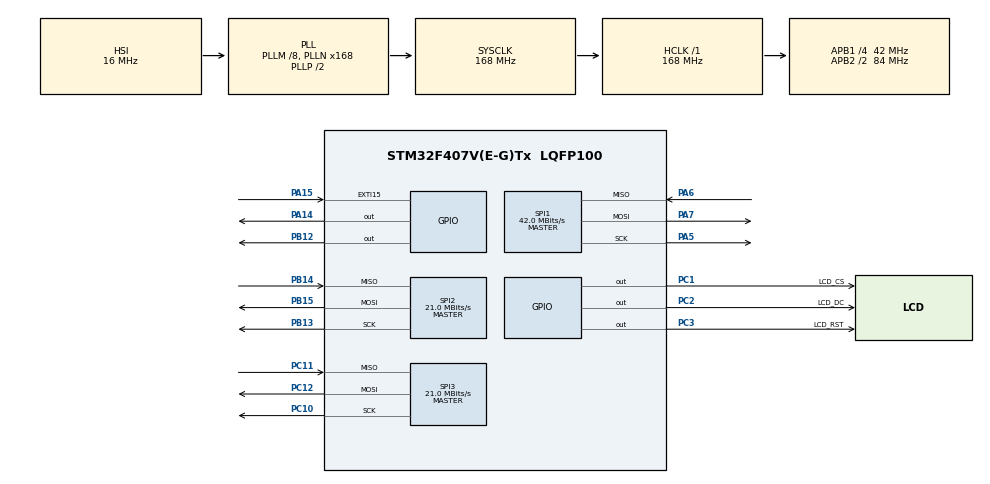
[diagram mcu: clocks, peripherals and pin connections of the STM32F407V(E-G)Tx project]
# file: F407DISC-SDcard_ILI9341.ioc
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FATFS._MAX_SS=4096
FATFS._USE_LFN=1
Mcu.Family=STM32F4
Mcu.Name=STM32F407V(E-G)Tx
Mcu.Package=LQFP100
NVIC.EXTI15_10_IRQn=true\:0\:0\:false\:false\:true\:true\:true\:true
NVIC.PriorityGroup=NVIC_PRIORITYGROUP_4
PA14.Signal=GPIO_Output
PA15.Signal=GPXTI15
PA5.Mode=Full_Duplex_Master
PA5.Signal=SPI1_SCK
PA6.Mode=Full_Duplex_Master
PA6.Signal=SPI1_MISO
PA7.Mode=Full_Duplex_Master
PA7.Signal=SPI1_MOSI
PB12.Signal=GPIO_Output
PB13.Mode=Full_Duplex_Master
PB13.Signal=SPI2_SCK
PB14.Mode=Full_Duplex_Master
PB14.Signal=SPI2_MISO
PB15.Mode=Full_Duplex_Master
PB15.Signal=SPI2_MOSI
PC1.GPIO_Label=LCD_CS
PC1.Signal=GPIO_Output
PC10.Mode=Full_Duplex_Master
PC10.Signal=SPI3_SCK
PC11.Mode=Full_Duplex_Master
PC11.Signal=SPI3_MISO
PC12.Mode=Full_Duplex_Master
PC12.Signal=SPI3_MOSI
PC2.GPIO_Label=LCD_DC
PC2.Signal=GPIO_Output
PC3.GPIO_Label=LCD_RST
PC3.Signal=GPIO_Output
PH0-OSC_IN.Mode=HSE-External-Oscillator
PH0-OSC_IN.Signal=RCC_OSC_IN
PH1-OSC_OUT.Mode=HSE-External-Oscillator
PH1-OSC_OUT.Signal=RCC_OSC_OUT
ProjectManager.HeapSize=0x200
ProjectManager.StackSize=0x400
ProjectManager.TargetToolchain=STM32CubeIDE
RCC.48MHZClocksFreq_Value=84000000
RCC.AHBFreq_Value=168000000
RCC.APB1CLKDivider=RCC_HCLK_DIV4
RCC.APB1Freq_Value=42000000
RCC.APB1TimFreq_Value=84000000
RCC.APB2CLKDivider=RCC_HCLK_DIV2
RCC.APB2Freq_Value=84000000
RCC.APB2TimFreq_Value=168000000
RCC.CortexFreq_Value=168000000
RCC.HCLKFreq_Value=168000000
RCC.HSE_VALUE=8000000
RCC.HSI_VALUE=16000000
RCC.LSE_VALUE=32768
RCC.PLLM=8
RCC.PLLN=168
RCC.SYSCLKFreq_VALUE=168000000
RCC.SYSCLKSource=RCC_SYSCLKSOURCE_PLLCLK
RCC.VCOOutputFreq_Value=336000000
SPI1.BaudRatePrescaler=SPI_BAUDRATEPRESCALER_2
SPI1.CalculateBaudRate=42.0 MBits/s
SPI1.Direction=SPI_DIRECTION_2LINES
SPI1.Mode=SPI_MODE_MASTER
SPI1.VirtualType=VM_MASTER
SPI2.BaudRatePrescaler=SPI_BAUDRATEPRESCALER_2
SPI2.CalculateBaudRate=21.0 MBits/s
SPI2.Direction=SPI_DIRECTION_2LINES
SPI2.Mode=SPI_MODE_MASTER
SPI2.VirtualType=VM_MASTER
SPI3.BaudRatePrescaler=SPI_BAUDRATEPRESCALER_2
SPI3.CalculateBaudRate=21.0 MBits/s
SPI3.Direction=SPI_DIRECTION_2LINES
SPI3.Mode=SPI_MODE_MASTER
SPI3.VirtualType=VM_MASTER
STMicroelectronics.X-CUBE-TOUCHGFX.4.25.0_IsPackSelfContextualization=true
VP_CRC_VS_CRC.Mode=CRC_Activate
VP_FATFS_VS_Generic.Mode=User_defined
board=custom

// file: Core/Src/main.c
/* USER CODE BEGIN Header */
/**
  ******************************************************************************
  * @file           : main.c
  * @brief          : Main program body
  ******************************************************************************
  * @attention
  *
  * Copyright (c) 2025 STMicroelectronics.
  * All rights reserved.
  *
  * This software is licensed under terms that can be found in the LICENSE file
  * in the root directory of this software component.
  * If no LICENSE file comes with this software, it is provided AS-IS.
  *
  ******************************************************************************
  */
/* USER CODE END Header */
#include "main.h"
#include "fatfs.h"

/* USER CODE BEGIN Includes */
#include "GUI.h"
#include "fatfs_sd.h"
/* USER CODE END Includes */

CRC_HandleTypeDef hcrc;

SPI_HandleTypeDef hspi1;
SPI_HandleTypeDef hspi2;
SPI_HandleTypeDef hspi3;

/* USER CODE BEGIN PV */
FATFS fileSystem;
FIL ImgFile;
FRESULT res;
U8 _acBuffer[1024];
char i=0;
char* file_name[] = {
    "frame_000.bmp","frame_001.bmp","frame_002.bmp","frame_003.bmp",
    "frame_004.bmp","frame_005.bmp","frame_006.bmp","frame_007.bmp",
    "frame_008.bmp","frame_009.bmp","frame_010.bmp","frame_011.bmp",
    "frame_012.bmp","frame_013.bmp","frame_014.bmp","frame_015.bmp",
    "frame_016.bmp","frame_017.bmp","frame_018.bmp","frame_019.bmp",
    "frame_020.bmp","frame_021.bmp","frame_022.bmp","frame_023.bmp",
    "frame_024.bmp","frame_025.bmp","frame_026.bmp","frame_027.bmp",
    "frame_028.bmp","frame_029.bmp","frame_030.bmp","frame_031.bmp",
    "frame_032.bmp","frame_033.bmp","frame_034.bmp","frame_035.bmp",
    "frame_036.bmp","frame_037.bmp","frame_038.bmp","frame_039.bmp",
    "frame_040.bmp","frame_041.bmp","frame_042.bmp","frame_043.bmp"
};
/* USER CODE END PV */

void SystemClock_Config(void);
static void MX_GPIO_Init(void);
static void MX_SPI1_Init(void);
static void MX_SPI2_Init(void);
static void MX_SPI3_Init(void);
static void MX_CRC_Init(void);

/* USER CODE BEGIN 0 */
static int _GetData(void * p, const U8 ** ppData, unsigned NumBytesReq, U32 Offset) {
    UINT NumBytesRead;
    FIL* fp = (FIL*)p;
    if(f_lseek(fp, Offset) != FR_OK) return 0;
    f_read(fp, _acBuffer, NumBytesReq, &NumBytesRead);
    *ppData = _acBuffer;
    return NumBytesRead;
}
/* USER CODE END 0 */

int main(void)
{

  /* MCU Configuration--------------------------------------------------------*/

  /* Reset of all peripherals, Initializes the Flash interface and the Systick. */
  HAL_Init();

  /* Configure the system clock */
  SystemClock_Config();

  /* Initialize all configured peripherals */
  MX_GPIO_Init();
  MX_SPI1_Init();
  MX_SPI2_Init();
  MX_SPI3_Init();
  MX_CRC_Init();
  MX_FATFS_Init();
  /* USER CODE BEGIN 2 */
  GUI_Init();

  res = f_mount(&fileSystem, (TCHAR const*) "0:/", 1);
  if(res != FR_OK) while(1);

  //CreateWindow();
  /* USER CODE END 2 */

  /* Infinite loop */
  /* USER CODE BEGIN WHILE */
  while (1)
  {
      res = f_open(&ImgFile, file_name[i++], FA_OPEN_EXISTING | FA_READ);
      if (res == FR_OK)
          GUI_BMP_DrawEx(_GetData, &ImgFile, 0, 0);
      f_close(&ImgFile);

      if(i>=43) i=0;
      HAL_Delay(0);
    /* USER CODE END WHILE */

  }
}

void SystemClock_Config(void)
{
  RCC_OscInitTypeDef RCC_OscInitStruct = {0};
  RCC_ClkInitTypeDef RCC_ClkInitStruct = {0};

  /** Configure the main internal regulator output voltage
  */
  __HAL_RCC_PWR_CLK_ENABLE();
  __HAL_PWR_VOLTAGESCALING_CONFIG(PWR_REGULATOR_VOLTAGE_SCALE1);

  /** Initializes the RCC Oscillators according to the specified parameters
  * in the RCC_OscInitTypeDef structure.
  */
  RCC_OscInitStruct.OscillatorType = RCC_OSCILLATORTYPE_HSI;
  RCC_OscInitStruct.HSIState = RCC_HSI_ON;
  RCC_OscInitStruct.HSICalibrationValue = RCC_HSICALIBRATION_DEFAULT;
  RCC_OscInitStruct.PLL.PLLState = RCC_PLL_ON;
  RCC_OscInitStruct.PLL.PLLSource = RCC_PLLSOURCE_HSI;
  RCC_OscInitStruct.PLL.PLLM = 8;
  RCC_OscInitStruct.PLL.PLLN = 168;
  RCC_OscInitStruct.PLL.PLLP = RCC_PLLP_DIV2;
  RCC_OscInitStruct.PLL.PLLQ = 4;
  if (HAL_RCC_OscConfig(&RCC_OscInitStruct) != HAL_OK)
  {
    Error_Handler();
  }

  /** Initializes the CPU, AHB and APB buses clocks
  */
  RCC_ClkInitStruct.ClockType = RCC_CLOCKTYPE_HCLK|RCC_CLOCKTYPE_SYSCLK
                              |RCC_CLOCKTYPE_PCLK1|RCC_CLOCKTYPE_PCLK2;
  RCC_ClkInitStruct.SYSCLKSource = RCC_SYSCLKSOURCE_PLLCLK;
  RCC_ClkInitStruct.AHBCLKDivider = RCC_SYSCLK_DIV1;
  RCC_ClkInitStruct.APB1CLKDivider = RCC_HCLK_DIV4;
  RCC_ClkInitStruct.APB2CLKDivider = RCC_HCLK_DIV2;

  if (HAL_RCC_ClockConfig(&RCC_ClkInitStruct, FLASH_LATENCY_5) != HAL_OK)
  {
    Error_Handler();
  }
}

static void MX_CRC_Init(void)
{

  hcrc.Instance = CRC;
  if (HAL_CRC_Init(&hcrc) != HAL_OK)
  {
    Error_Handler();
  }

}

static void MX_SPI1_Init(void)
{

  /* SPI1 parameter configuration*/
  hspi1.Instance = SPI1;
  hspi1.Init.Mode = SPI_MODE_MASTER;
  hspi1.Init.Direction = SPI_DIRECTION_2LINES;
  hspi1.Init.DataSize = SPI_DATASIZE_8BIT;
  hspi1.Init.CLKPolarity = SPI_POLARITY_LOW;
  hspi1.Init.CLKPhase = SPI_PHASE_1EDGE;
  hspi1.Init.NSS = SPI_NSS_SOFT;
  hspi1.Init.BaudRatePrescaler = SPI_BAUDRATEPRESCALER_2;
  hspi1.Init.FirstBit = SPI_FIRSTBIT_MSB;
  hspi1.Init.TIMode = SPI_TIMODE_DISABLE;
  hspi1.Init.CRCCalculation = SPI_CRCCALCULATION_DISABLE;
  hspi1.Init.CRCPolynomial = 10;
  if (HAL_SPI_Init(&hspi1) != HAL_OK)
  {
    Error_Handler();
  }

}

static void MX_SPI2_Init(void)
{

  /* SPI2 parameter configuration*/
  hspi2.Instance = SPI2;
  hspi2.Init.Mode = SPI_MODE_MASTER;
  hspi2.Init.Direction = SPI_DIRECTION_2LINES;
  hspi2.Init.DataSize = SPI_DATASIZE_8BIT;
  hspi2.Init.CLKPolarity = SPI_POLARITY_LOW;
  hspi2.Init.CLKPhase = SPI_PHASE_1EDGE;
  hspi2.Init.NSS = SPI_NSS_SOFT;
  hspi2.Init.BaudRatePrescaler = SPI_BAUDRATEPRESCALER_2;
  hspi2.Init.FirstBit = SPI_FIRSTBIT_MSB;
  hspi2.Init.TIMode = SPI_TIMODE_DISABLE;
  hspi2.Init.CRCCalculation = SPI_CRCCALCULATION_DISABLE;
  hspi2.Init.CRCPolynomial = 10;
  if (HAL_SPI_Init(&hspi2) != HAL_OK)
  {
    Error_Handler();
  }

}

static void MX_SPI3_Init(void)
{

  /* SPI3 parameter configuration*/
  hspi3.Instance = SPI3;
  hspi3.Init.Mode = SPI_MODE_MASTER;
  hspi3.Init.Direction = SPI_DIRECTION_2LINES;
  hspi3.Init.DataSize = SPI_DATASIZE_8BIT;
  hspi3.Init.CLKPolarity = SPI_POLARITY_LOW;
  hspi3.Init.CLKPhase = SPI_PHASE_1EDGE;
  hspi3.Init.NSS = SPI_NSS_SOFT;
  hspi3.Init.BaudRatePrescaler = SPI_BAUDRATEPRESCALER_2;
  hspi3.Init.FirstBit = SPI_FIRSTBIT_MSB;
  hspi3.Init.TIMode = SPI_TIMODE_DISABLE;
  hspi3.Init.CRCCalculation = SPI_CRCCALCULATION_DISABLE;
  hspi3.Init.CRCPolynomial = 10;
  if (HAL_SPI_Init(&hspi3) != HAL_OK)
  {
    Error_Handler();
  }

}

static void MX_GPIO_Init(void)
{
  GPIO_InitTypeDef GPIO_InitStruct = {0};

  /* GPIO Ports Clock Enable */
  __HAL_RCC_GPIOH_CLK_ENABLE();
  __HAL_RCC_GPIOC_CLK_ENABLE();
  __HAL_RCC_GPIOA_CLK_ENABLE();
  __HAL_RCC_GPIOB_CLK_ENABLE();

  /*Configure GPIO pin Output Level */
  HAL_GPIO_WritePin(GPIOC, LCD_CS_Pin|LCD_DC_Pin|LCD_RST_Pin, GPIO_PIN_RESET);

  /*Configure GPIO pin Output Level */
  HAL_GPIO_WritePin(GPIOB, GPIO_PIN_12, GPIO_PIN_RESET);

  /*Configure GPIO pin Output Level */
  HAL_GPIO_WritePin(GPIOA, GPIO_PIN_14, GPIO_PIN_RESET);

  /*Configure GPIO pins : LCD_CS_Pin LCD_DC_Pin LCD_RST_Pin */
  GPIO_InitStruct.Pin = LCD_CS_Pin|LCD_DC_Pin|LCD_RST_Pin;
  GPIO_InitStruct.Mode = GPIO_MODE_OUTPUT_PP;
  GPIO_InitStruct.Pull = GPIO_NOPULL;
  GPIO_InitStruct.Speed = GPIO_SPEED_FREQ_LOW;
  HAL_GPIO_Init(GPIOC, &GPIO_InitStruct);

  /*Configure GPIO pin : PB12 */
  GPIO_InitStruct.Pin = GPIO_PIN_12;
  GPIO_InitStruct.Mode = GPIO_MODE_OUTPUT_PP;
  GPIO_InitStruct.Pull = GPIO_NOPULL;
  GPIO_InitStruct.Speed = GPIO_SPEED_FREQ_LOW;
  HAL_GPIO_Init(GPIOB, &GPIO_InitStruct);

  /*Configure GPIO pin : PA14 */
  GPIO_InitStruct.Pin = GPIO_PIN_14;
  GPIO_InitStruct.Mode = GPIO_MODE_OUTPUT_PP;
  GPIO_InitStruct.Pull = GPIO_NOPULL;
  GPIO_InitStruct.Speed = GPIO_SPEED_FREQ_LOW;
  HAL_GPIO_Init(GPIOA, &GPIO_InitStruct);

  /*Configure GPIO pin : PA15 */
  GPIO_InitStruct.Pin = GPIO_PIN_15;
  GPIO_InitStruct.Mode = GPIO_MODE_IT_RISING;
  GPIO_InitStruct.Pull = GPIO_NOPULL;
  HAL_GPIO_Init(GPIOA, &GPIO_InitStruct);

  /* EXTI interrupt init*/
  HAL_NVIC_SetPriority(EXTI15_10_IRQn, 0, 0);
  HAL_NVIC_EnableIRQ(EXTI15_10_IRQn);

}

void Error_Handler(void)
{
  __disable_irq();
  while (1)
  {
  }
}
